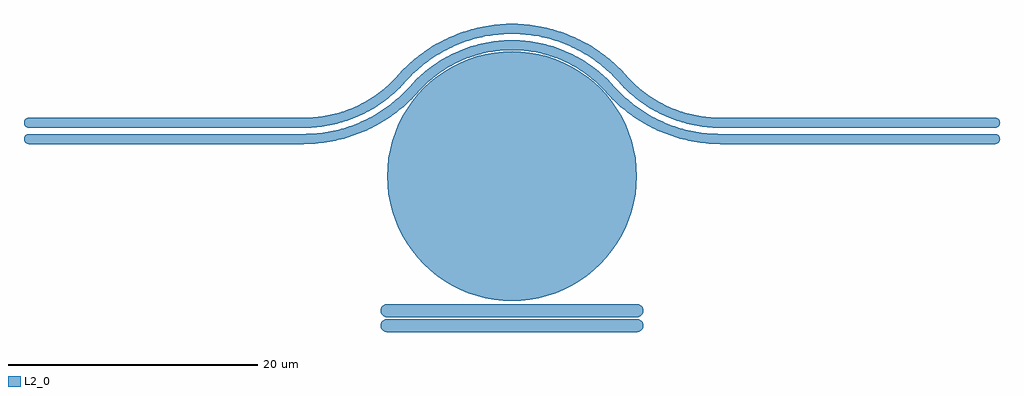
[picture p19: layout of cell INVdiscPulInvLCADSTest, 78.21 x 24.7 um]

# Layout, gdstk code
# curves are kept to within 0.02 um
import gdstk
lib = gdstk.Library(unit=1e-6, precision=1e-09)
def P(c, l, *ps):  # polygons
    for p in ps: c.add(gdstk.Polygon(p, *l))
L2_0 = (2, 0)

invdiscpulinvlcadstest = lib.new_cell('INVdiscPulInvLCADSTest')
P(invdiscpulinvlcadstest, L2_0, [(10,10),(9.287,10.025),(8.577,10.102),(7.874,10.229),(7.183,10.405),(6.505,10.631),(5.846,10.904),(5.208,11.223),(4.594,11.587),(4.007,11.995),(3.451,12.443),(2.929,12.929),(2.443,13.451),(1.995,14.007),(1.587,14.594),(1.223,15.208),(0.904,15.846),(0.631,16.505),(0.405,17.183),(0.229,17.874),(0.102,18.577),(0.025,19.287),(0,20),(0.025,20.713),(0.102,21.423),(0.229,22.126),(0.405,22.817),(0.631,23.495),(0.904,24.154),(1.223,24.792),(1.587,25.406),(1.995,25.993),(2.443,26.549),(2.929,27.071),(3.451,27.557),(4.007,28.005),(4.594,28.413),(5.208,28.777),(5.846,29.096),(6.505,29.369),(7.183,29.595),(7.874,29.771),(8.577,29.898),(9.287,29.975),(10,30),(10.713,29.975),(11.423,29.898),(12.126,29.771),(12.817,29.595),(13.495,29.369),(14.154,29.096),(14.792,28.777),(15.406,28.413),(15.993,28.005),(16.549,27.557),(17.071,27.071),(17.557,26.549),(18.005,25.993),(18.413,25.406),(18.777,24.792),(19.096,24.154),(19.369,23.495),(19.595,22.817),(19.771,22.126),(19.898,21.423),(19.975,20.713),(20,20),(19.975,19.287),(19.898,18.577),(19.771,17.874),(19.595,17.183),(19.369,16.505),(19.096,15.846),(18.777,15.208),(18.413,14.594),(18.005,14.007),(17.557,13.451),(17.071,12.929),(16.549,12.443),(15.993,11.995),(15.406,11.587),(14.792,11.223),(14.154,10.904),(13.495,10.631),(12.817,10.405),(12.126,10.229),(11.423,10.102),(10.713,10.025)],
  [(-28.704,22.574),(-28.704,23.374),(-6.485,23.376),(-5.391,23.45),(-4.309,23.628),(-3.249,23.91),(-2.222,24.292),(-1.236,24.771),(-0.483,25.221),(0.233,25.728),(0.908,26.288),(1.385,26.741),(2.415,27.828),(3.039,28.388),(3.877,29.018),(4.957,29.663),(6.103,30.18),(7.302,30.561),(8.536,30.801),(9.79,30.898),(11.047,30.85),(11.878,30.737),(12.495,30.611),(13.7,30.253),(14.857,29.758),(15.772,29.247),(16.798,28.52),(17.585,27.828),(18.615,26.741),(19.092,26.288),(19.767,25.728),(20.483,25.221),(21.429,24.668),(22.424,24.208),(23.459,23.845),(24.524,23.584),(25.609,23.427),(26.704,23.374),(48.704,23.374),(48.704,22.574),(26.704,22.574),(25.532,22.63),(24.602,22.756),(23.457,23.014),(22.342,23.38),(21.268,23.852),(20.244,24.425),(19.467,24.952),(18.557,25.692),(18.047,26.178),(17.029,27.253),(16.299,27.895),(15.348,28.568),(14.5,29.042),(13.429,29.5),(12.688,29.736),(12.122,29.875),(10.97,30.053),(9.806,30.098),(8.644,30.009),(7.5,29.786),(6.389,29.433),(5.327,28.954),(4.488,28.463),(3.701,27.895),(2.971,27.253),(1.953,26.178),(1.443,25.692),(0.533,24.952),(-0.244,24.425),(-1.268,23.852),(-2.342,23.38),(-3.457,23.014),(-4.371,22.799),(-5.532,22.63),(-6.469,22.576)],
  [(-28.704,23.874),(-28.704,24.674),(-6.704,24.674),(-5.54,24.741),(-4.582,24.899),(-3.643,25.149),(-2.733,25.487),(-2.031,25.82),(-1.192,26.31),(-0.558,26.759),(0.04,27.256),(0.463,27.657),(1.51,28.761),(2.391,29.536),(3.342,30.223),(3.943,30.59),(4.564,30.922),(5.858,31.476),(7.208,31.876),(8.362,32.09),(9.062,32.164),(9.765,32.198),(10.469,32.191),(11.172,32.144),(11.871,32.056),(12.563,31.928),(13.247,31.76),(14.142,31.476),(15.436,30.922),(16.057,30.59),(16.658,30.223),(17.609,29.536),(18.49,28.761),(19.537,27.657),(19.96,27.256),(20.558,26.759),(21.192,26.31),(22.031,25.82),(22.912,25.413),(23.829,25.092),(24.773,24.86),(25.734,24.721),(26.704,24.674),(48.704,24.674),(48.704,23.874),(26.704,23.874),(25.657,23.924),(24.826,24.037),(23.803,24.267),(22.807,24.594),(21.847,25.016),(20.932,25.527),(20.071,26.124),(19.425,26.66),(18.969,27.094),(17.933,28.187),(17.11,28.911),(16.036,29.671),(15.079,30.206),(14.482,30.482),(13.663,30.796),(12.395,31.146),(11.095,31.347),(9.781,31.398),(8.469,31.297),(7.178,31.045),(5.924,30.647),(4.921,30.206),(3.964,29.671),(2.89,28.911),(2.067,28.187),(1.031,27.094),(0.575,26.66),(-0.071,26.124),(-0.756,25.64),(-1.66,25.111),(-2.612,24.671),(-3.601,24.325),(-4.62,24.075),(-5.657,23.924),(-6.704,23.874)],
  [(48.704,22.574),(48.704,23.374),(48.86,23.342),(48.987,23.257),(49.073,23.13),(49.104,22.974),(49.073,22.818),(48.987,22.691),(48.86,22.605)],
  [(-28.704,22.574),(-28.86,22.605),(-28.987,22.691),(-29.073,22.818),(-29.104,22.974),(-29.073,23.13),(-28.987,23.257),(-28.86,23.342),(-28.704,23.374)],
  [(48.704,23.874),(48.704,24.674),(48.86,24.642),(48.987,24.557),(49.073,24.43),(49.104,24.274),(49.073,24.118),(48.987,23.991),(48.86,23.905)],
  [(-28.704,23.874),(-28.86,23.905),(-28.987,23.991),(-29.073,24.118),(-29.104,24.274),(-29.073,24.43),(-28.987,24.557),(-28.86,24.642),(-28.704,24.674)],
  [(0,7.5),(-0.204,7.541),(-0.371,7.654),(-0.484,7.821),(-0.525,8.025),(-0.484,8.229),(-0.371,8.396),(-0.204,8.509),(0,8.55),(20,8.55),(20.204,8.509),(20.371,8.396),(20.484,8.229),(20.525,8.025),(20.484,7.821),(20.371,7.654),(20.204,7.541),(20,7.5)],
  [(0,8.7),(-0.204,8.741),(-0.371,8.854),(-0.484,9.021),(-0.525,9.225),(-0.484,9.429),(-0.371,9.596),(-0.204,9.709),(0,9.75),(20,9.75),(20.204,9.709),(20.371,9.596),(20.484,9.429),(20.525,9.225),(20.484,9.021),(20.371,8.854),(20.204,8.741),(20,8.7)])

lib.write_gds('INVdiscPulInvLCADSTest.gds')
